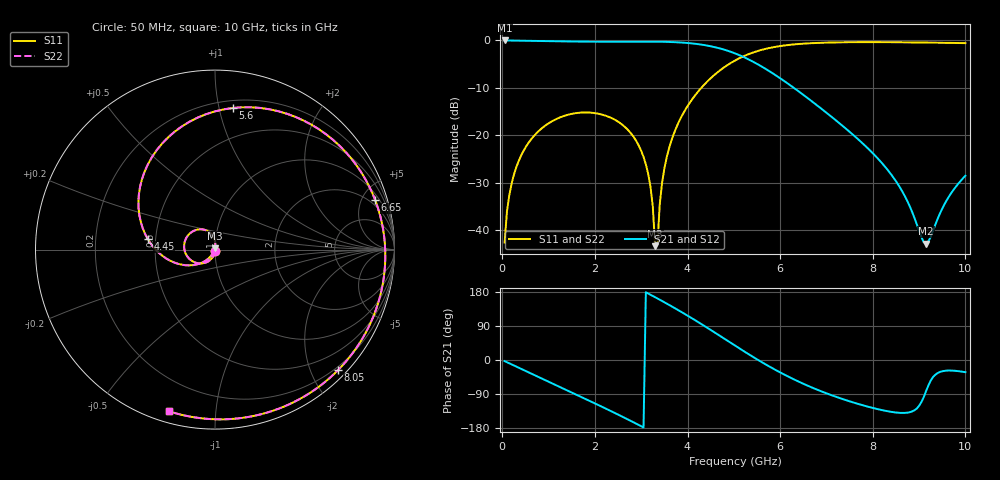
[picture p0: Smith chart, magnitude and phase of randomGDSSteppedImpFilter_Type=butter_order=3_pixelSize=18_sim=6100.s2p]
! freq	dB(S11)	phase(S11)	dB(S12)	phase(S12)
!  dB(S21)	phase(S21)	dB(S22)	phase(S22)
!S-par simulation data
#  GHz  S  DB  R 50
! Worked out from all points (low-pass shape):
!   200 points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, 50 MHz to 10 GHz, reference 50 ohm
!   highest |S21| = 0.00 dB at 50 MHz (marker M1); lowest = -42.8 dB at 9.15 GHz (marker M2)
!   |S21| within 3 dB of the highest: start of sweep to 5.095 GHz
!   lowest |S11| = -43.4 dB at 3.3 GHz (marker M3), VSWR 1.01, Z = 49.8 + j0.658 ohm
!   |S11| at or under -10 dB: start of sweep to 4.297 GHz
!   |S22| runs from -43.6 to -0.4 dB; largest |S21 - S12| = 0
!   S11 on the Smith chart (normalised r, x): 50 MHz: 1.00, -0.01; 4.45 GHz: 0.45, +0.06; 5.6 GHz: 0.26, +1.10; 6.65 GHz: 1.45, +6.29; 8.05 GHz: 0.14, -2.44; 10 GHz: 0.05, -0.75
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0.05  -42.62 -91.6  -0.01 -2.9  -0.01 -2.9  -42.57 -88.9
0.2  -30.24 -101.6  -0.02 -11.6  -0.02 -11.6  -30.24 -101.6
0.5  -22.59 -119.2  -0.06 -28.8  -0.06 -28.8  -22.59 -119.2
1.15  -16.65 -156.7  -0.17 -65.8  -0.17 -65.8  -16.65 -156.7
1.75  -15.19 169.2  -0.25 -100.1  -0.25 -100.1  -15.19 169.1
2.3  -16.12 137.4  -0.27 -132.1  -0.27 -132.1  -16.12 137.3
2.95  -22.22 98.9  -0.24 -171.7  -0.24 -171.7  -22.23 98.7
3.2  -30.84 86.8  -0.25 172.3  -0.25 172.3  -30.85 86.3
3.3  -43.38 103.1  -0.25 165.8  -0.25 165.8  -43.56 101.0
3.35  -43.08 -143.5  -0.26 162.4  -0.26 162.4  -43.27 -141.5
3.4  -34.56 -122.7  -0.27 159.1  -0.27 159.1  -34.58 -121.8
3.5  -26.99 -123.5  -0.29 152.4  -0.29 152.4  -26.99 -123.1
3.7  -19.78 -135.0  -0.35 138.6  -0.35 138.6  -19.78 -134.7
4.45  -8.43 171.1  -1.13 83.2  -1.13 83.2  -8.43 171.2
5.05  -4.10 124.3  -2.83 36.1  -2.83 36.1  -4.10 124.3
5.6  -1.99 82.8  -5.50 -5.5  -5.50 -5.5  -1.99 82.8
6.65  -0.59 17.2  -12.58 -70.8  -12.58 -70.8  -0.59 17.2
6.7  -0.57 14.5  -12.95 -73.3  -12.95 -73.3  -0.57 14.6
8.05  -0.36 -44.4  -24.28 -128.0  -24.28 -128.0  -0.36 -44.4
8.35  -0.37 -55.1  -27.66 -135.9  -27.66 -135.9  -0.37 -55.1
9.15  -0.45 -80.9  -42.82 -82.3  -42.82 -82.3  -0.45 -80.9
10  -0.57 -105.8  -28.52 -32.1  -28.52 -32.1  -0.57 -105.8
